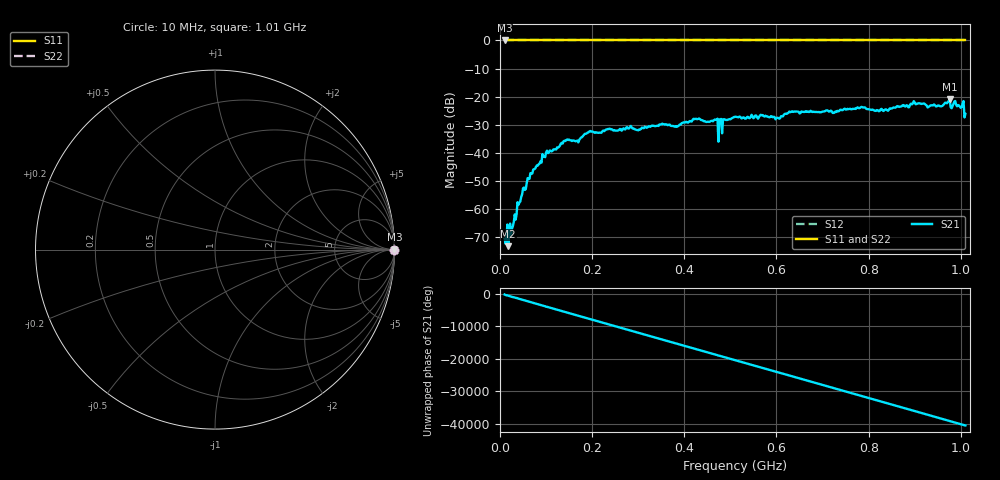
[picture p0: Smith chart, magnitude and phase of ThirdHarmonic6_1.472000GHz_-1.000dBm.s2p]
! 8/16/2025 5:10:08 PM
! C:\ANRITSUVNA\TEMP\TEMP.S2P
! CHANNEL.1
! TR.MEASUREMENT
! RAW.DATA
! RF.CORRECTION.OFF
! AVERAGING.OFF
! IF.BANDWIDTH: 5KHZ
! SWEEPTYPE:  FREQ.SWEEP(Linear)
! Reference Plane Port Info
! PORT:  PORT1  PORT2
! DISTANCE:  0  m  0  m
! TIME:  0  s  0  s
! PHASE.OFFSET:  0  deg.  0  deg.
! LOSS:  0  dB  0  dB
! REF.LOSS:  0  dB  0  dB
! REF.FREQ:  0  Hz  0  Hz
! Power Info
! POWER:  -20  dBm  -20  dBm
! EFF.POWER:  -20  dBm  -20  dBm
! SOURCE.ATTEN:  0  dB  0  dB
! TEST.ATTEN:  0  dB  0  dB
# GHZ S RI R 50.0
! FREQ.GHZ  S11RE  S11IM  S21RE  S21IM  S12RE  S12IM  S22RE  S22IM
!; PortSelection: Port_12
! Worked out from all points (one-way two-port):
!   501 points, 10 MHz to 1.01 GHz, reference 50 ohm
!   highest |S21| = -20.97 dB at 976 MHz (marker M1); lowest = -73.2 dB at 18 MHz (marker M2)
!   lowest |S11| = 0.0 dB at 10 MHz (marker M3)
!   |S11| at or under -10 dB: nowhere
!   |S22| runs from 0.0 to 0.0 dB; largest |S21 - S12| = 1.1
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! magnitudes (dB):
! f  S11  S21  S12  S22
! 10 MHz  0.0  -70.6  0.0  0.0
! 18 MHz  0.0  -73.2  0.0  0.0
! 22 MHz  0.0  -65.2  0.0  0.0
! 42 MHz  0.0  -57.8  0.0  0.0
! 62 MHz  0.0  -49.3  0.0  0.0
! 96 MHz  0.0  -41.3  0.0  0.0
! 142 MHz  0.0  -35.8  0.0  0.0
! 178 MHz  0.0  -34.4  0.0  0.0
! 196 MHz  0.0  -32.2  0.0  0.0
! 344 MHz  0.0  -30.4  0.0  0.0
! 382 MHz  0.0  -30.5  0.0  0.0
! 428 MHz  0.0  -28.1  0.0  0.0
! 468 MHz  0.0  -28.3  0.0  0.0
! 478 MHz  0.0  -28.1  0.0  0.0
! 510 MHz  0.0  -27.2  0.0  0.0
! 602 MHz  0.0  -27.5  0.0  0.0
! 678 MHz  0.0  -25.5  0.0  0.0
! 844 MHz  0.0  -24.6  0.0  0.0
! 896 MHz  0.0  -22.4  0.0  0.0
! 976 MHz  0.0  -21.0  0.0  0.0
! 1.002 GHz  0.0  -23.8  0.0  0.0
! 1.01 GHz  0.0  -26.1  0.0  0.0
